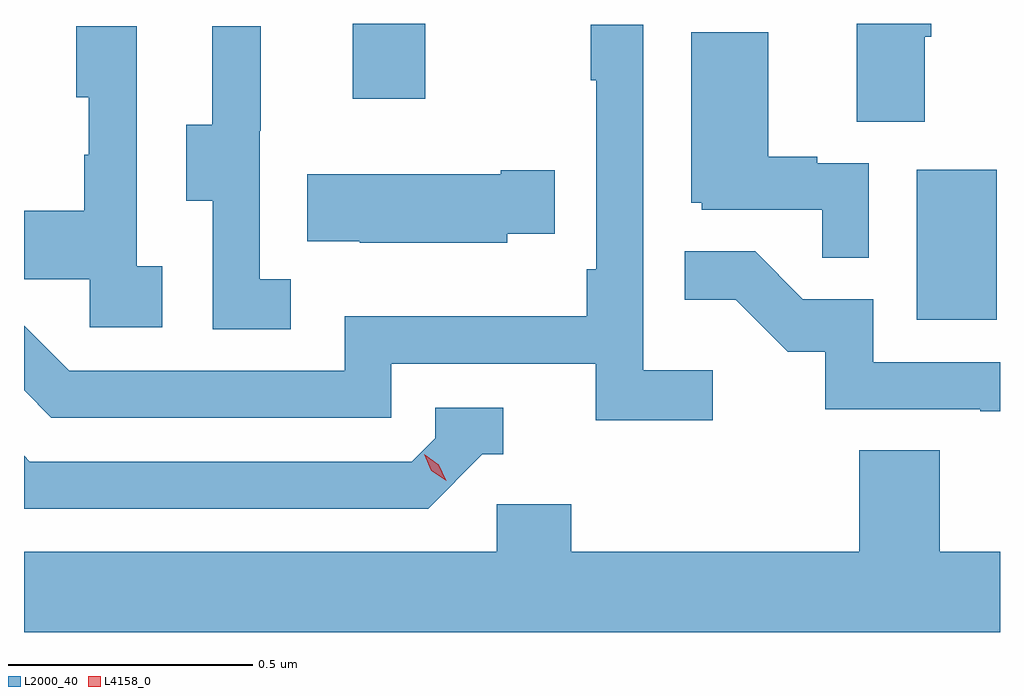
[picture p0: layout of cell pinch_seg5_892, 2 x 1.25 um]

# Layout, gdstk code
import gdstk
lib = gdstk.Library(unit=1e-6, precision=1e-09)
def R(c, l, rs):  # rectangles x0, y0, x1, y1
    for r in rs: c.add(gdstk.rectangle(r[:2], r[2:], *l))
def P(c, l, *ps):  # polygons
    for p in ps: c.add(gdstk.Polygon(p, *l))
L2000_40 = (2000, 40)
L4158_0 = (4158, 0)

pinch_seg5_892 = lib.new_cell('pinch_seg5_892')
R(pinch_seg5_892, L2000_40, [(829.808,880.044,829.972,880.351), (828.653,880.497,828.801,880.65)])
P(pinch_seg5_892, L2000_40, [(829.825,880.624),(829.838,880.624),(829.838,880.65),(829.685,880.65),(829.685,880.45),(829.825,880.45)],
  [(829.39,879.94),(829.248,879.94),(829.248,880.648),(829.14,880.648),(829.14,880.535),(829.152,880.535),(829.152,880.147),(829.132,880.147),(829.132,880.051),(828.636,880.051),(828.636,879.939),(828.072,879.939),(827.979,880.032),(827.979,879.899),(828.035,879.843),(828.732,879.843),(828.732,879.954),(829.151,879.954),(829.151,879.838),(829.39,879.838)],
  [(828.526,880.127),(828.462,880.127),(828.462,880.431),(828.464,880.431),(828.464,880.645),(828.365,880.645),(828.365,880.443),(828.311,880.443),(828.311,880.288),(828.366,880.288),(828.366,880.024),(828.526,880.024)],
  [(828.262,880.154),(828.21,880.154),(828.21,880.645),(828.086,880.645),(828.086,880.5),(828.112,880.5),(828.112,880.382),(828.102,880.382),(828.102,880.267),(827.979,880.267),(827.979,880.127),(828.114,880.127),(828.114,880.029),(828.262,880.029)],
  [(829.71,880.365),(829.604,880.365),(829.604,880.378),(829.504,880.378),(829.504,880.633),(829.346,880.633),(829.346,880.284),(829.368,880.284),(829.368,880.269),(829.615,880.269),(829.615,880.171),(829.71,880.171)],
  [(828.969,880.22),(829.067,880.22),(829.067,880.35),(828.956,880.35),(828.956,880.342),(828.559,880.342),(828.559,880.205),(828.667,880.205),(828.667,880.202),(828.969,880.202)],
  [(829.979,879.957),(829.719,879.957),(829.719,880.086),(829.575,880.086),(829.477,880.184),(829.333,880.184),(829.333,880.085),(829.437,880.085),(829.544,879.978),(829.621,879.978),(829.621,879.861),(829.939,879.861),(829.939,879.856),(829.979,879.856)],
  [(828.918,879.768),(828.961,879.768),(828.961,879.864),(828.822,879.864),(828.822,879.801),(828.774,879.753),(827.991,879.753),(827.979,879.765),(827.979,879.657),(828.807,879.657)],
  [(829.979,879.568),(829.856,879.568),(829.856,879.776),(829.691,879.776),(829.691,879.568),(829.1,879.568),(829.1,879.666),(828.948,879.666),(828.948,879.568),(827.979,879.568),(827.979,879.404),(829.979,879.404)])
P(pinch_seg5_892, L4158_0, [(828.844,879.714),(828.814,879.734),(828.799,879.768),(828.799,879.768),(828.799,879.768),(828.829,879.747),(828.844,879.714),(828.844,879.714)])

lib.write_gds('pinch_seg5_892.gds')
